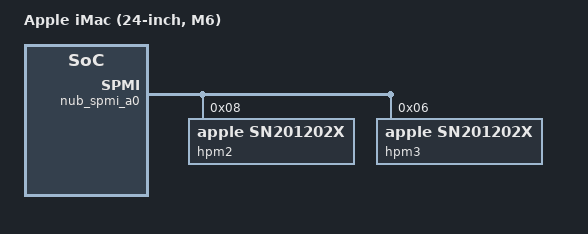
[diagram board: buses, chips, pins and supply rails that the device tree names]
// SPDX-License-Identifier: GPL-2.0+ OR MIT
/*
 * Apple iMac (24-inch, M6), J833ct.
 *
 * Booted from RAM by the loader (see t8152-common.dtsi); the console is the
 * framebuffer. The keyboard and trackpad are Bluetooth accessories: the board
 * has no MTP, keyboard backlight PWM or battery. Resources follow the J833ct
 * ADT.
 */
/dts-v1/;

#include "t8152-common.dtsi"

/ {
	compatible = "apple,j833ct", "apple,t8152", "apple,arm-platform";
	model = "Apple iMac (24-inch, M6)";
	chassis-type = "all-in-one";
};

&pinctrl_ap {
	/* ADT no-restore-gpio-pins */
	gpio-reserved-ranges = <78 2>, <208 1>;
};

/*
 * USB-C PD: hpm0 (back-right) and hpm1 (back-right-middle) come from
 * t8152-common.dtsi; from the J833ct ADT, hpm2 (back-left-middle) and
 * hpm3 (back-left) are at SIDs 8 and 6 on the same bus.
 */
&nub_spmi_a0 {
	hpm2: usb-pd@8 {
		compatible = "apple,sn201202x";
		reg = <0x8 SPMI_USID>;
	};

	hpm3: usb-pd@6 {
		compatible = "apple,sn201202x";
		reg = <0x6 SPMI_USID>;
	};
};
